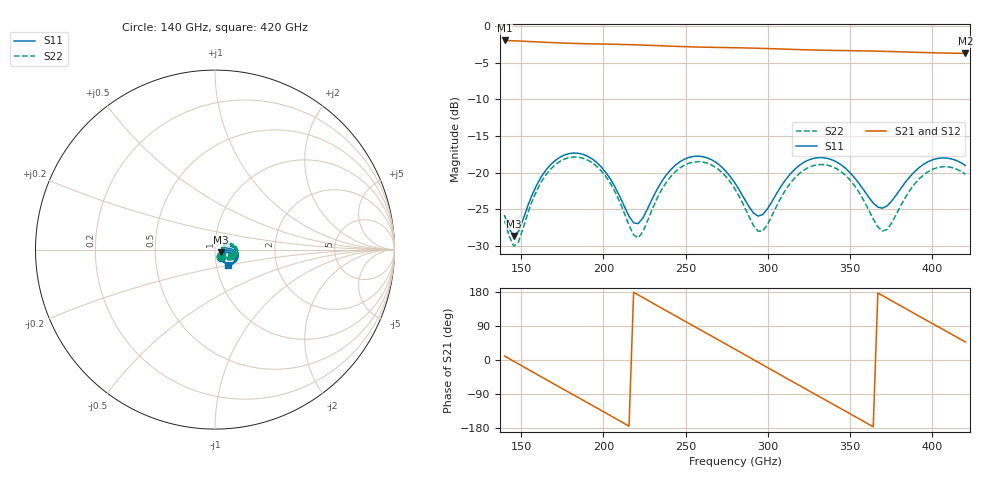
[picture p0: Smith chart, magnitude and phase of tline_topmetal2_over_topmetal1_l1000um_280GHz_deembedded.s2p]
! Created with skrf 2.0.1 (http://scikit-rf.org).
# GHz S DB R 50.0
!freq dBS11 angS11 dBS21 angS21 dBS12 angS12 dBS22 angS22
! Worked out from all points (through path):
!   101 points, 140 GHz to 420 GHz, reference 50 ohm
!   highest |S21| = -1.98 dB at 140 GHz (marker M1); lowest = -3.7 dB at 420 GHz (marker M2)
!   group delay of S21, straight-line fit = 6.77 ps
!   lowest |S11| = -28.6 dB at 145.6 GHz (marker M3), VSWR 1.08, Z = 53.5 - j1.62 ohm
!   |S11| at or under -10 dB: start of sweep to end of sweep
!   |S22| runs from -30.0 to -17.9 dB; largest |S21 - S12| = 8.8e-14
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140  -25.87 -52.3  -1.98 10.5  -1.98 10.5  -26.55 -46.9
145.6  -28.63 -24.1  -2.03 -3.4  -2.03 -3.4  -30.03 -16.9
156.8  -23.00 13.5  -2.14 -31.0  -2.14 -31.0  -23.84 27.0
168  -18.91 2.8  -2.26 -58.3  -2.26 -58.3  -19.52 16.3
187.6  -17.51 -30.0  -2.41 -106.0  -2.41 -106.0  -18.04 -16.5
204.4  -20.93 -52.8  -2.49 -147.0  -2.49 -147.0  -21.51 -40.3
221.2  -26.96 -19.6  -2.59 171.7  -2.59 171.7  -28.89 -5.3
235.2  -21.31 3.3  -2.71 137.4  -2.71 137.4  -22.42 24.0
246.4  -18.54 -9.1  -2.80 110.2  -2.80 110.2  -19.39 11.4
257.6  -17.75 -26.3  -2.88 83.0  -2.88 83.0  -18.50 -6.2
268.8  -18.66 -43.0  -2.93 55.8  -2.93 55.8  -19.38 -23.5
280  -21.43 -53.4  -2.97 28.4  -2.97 28.4  -22.25 -35.6
296.8  -25.73 -20.3  -3.06 -12.7  -3.06 -12.7  -27.96 0.5
313.6  -20.18 -6.3  -3.19 -53.7  -3.19 -53.7  -21.44 20.3
327.6  -18.07 -23.3  -3.28 -87.7  -3.28 -87.7  -19.05 2.3
338.8  -18.24 -39.1  -3.33 -114.8  -3.33 -114.8  -19.16 -14.7
352.8  -20.74 -53.0  -3.38 -148.9  -3.38 -148.9  -21.83 -31.8
366.8  -24.70 -38.7  -3.44 176.9  -3.44 176.9  -27.40 -19.0
375.2  -23.89 -17.1  -3.49 156.3  -3.49 156.3  -26.88 13.7
397.6  -18.48 -21.9  -3.64 101.9  -3.64 101.9  -19.85 10.7
408.8  -18.01 -36.2  -3.70 74.8  -3.70 74.8  -19.20 -5.6
420  -19.03 -49.3  -3.74 47.6  -3.74 47.6  -20.23 -21.4
